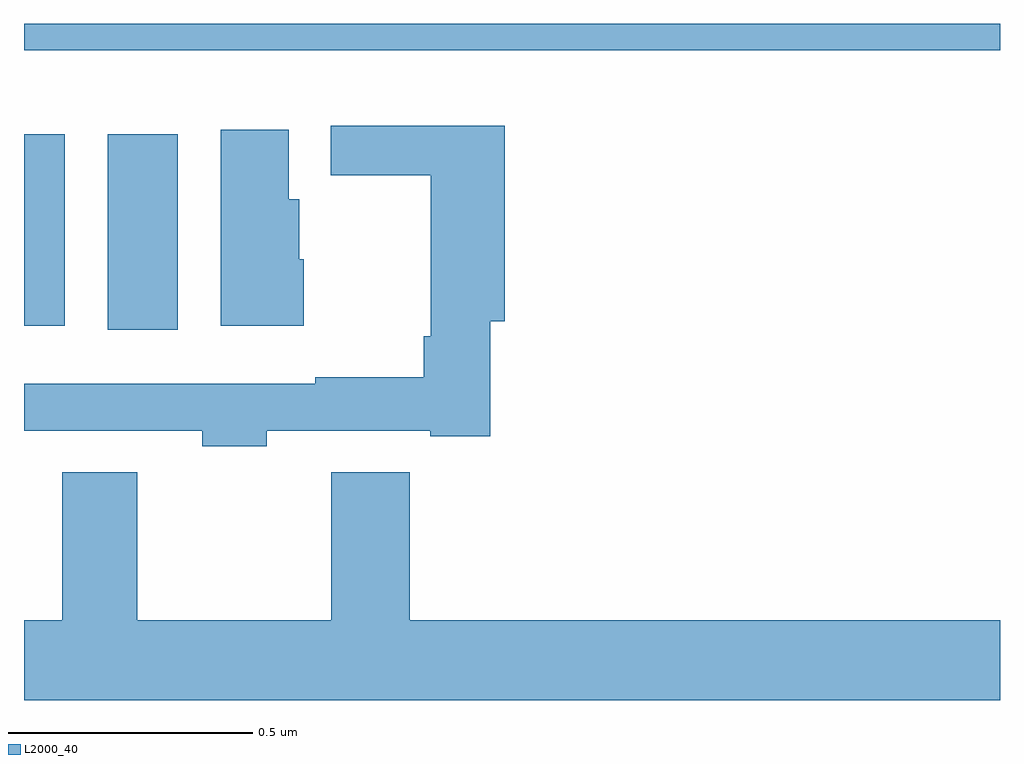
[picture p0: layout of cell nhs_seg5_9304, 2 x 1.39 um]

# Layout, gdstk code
import gdstk
lib = gdstk.Library(unit=1e-6, precision=1e-09)
def R(c, l, rs):  # rectangles x0, y0, x1, y1
    for r in rs: c.add(gdstk.rectangle(r[:2], r[2:], *l))
def P(c, l, *ps):  # polygons
    for p in ps: c.add(gdstk.Polygon(p, *l))
L2000_40 = (2000, 40)

nhs_seg5_9304 = lib.new_cell('nhs_seg5_9304')
R(nhs_seg5_9304, L2000_40, [(232.172,872.172,232.315,872.572), (232,872.18,232.084,872.572), (232,872.744,234,872.799)])
P(nhs_seg5_9304, L2000_40, [(232.497,871.965),(232.832,871.965),(232.832,871.953),(232.955,871.953),(232.955,872.189),(232.985,872.189),(232.985,872.59),(232.629,872.59),(232.629,872.488),(232.834,872.488),(232.834,872.158),(232.819,872.158),(232.819,872.074),(232.597,872.074),(232.597,872.061),(232,872.061),(232,871.965),(232.365,871.965),(232.365,871.933),(232.497,871.933)],
  [(232.573,872.316),(232.564,872.316),(232.564,872.439),(232.543,872.439),(232.543,872.581),(232.403,872.581),(232.403,872.18),(232.573,872.18)],
  [(234,871.576),(232.79,871.576),(232.79,871.88),(232.63,871.88),(232.63,871.576),(232.232,871.576),(232.232,871.88),(232.078,871.88),(232.078,871.576),(232,871.576),(232,871.412),(234,871.412)])

lib.write_gds('nhs_seg5_9304.gds')
